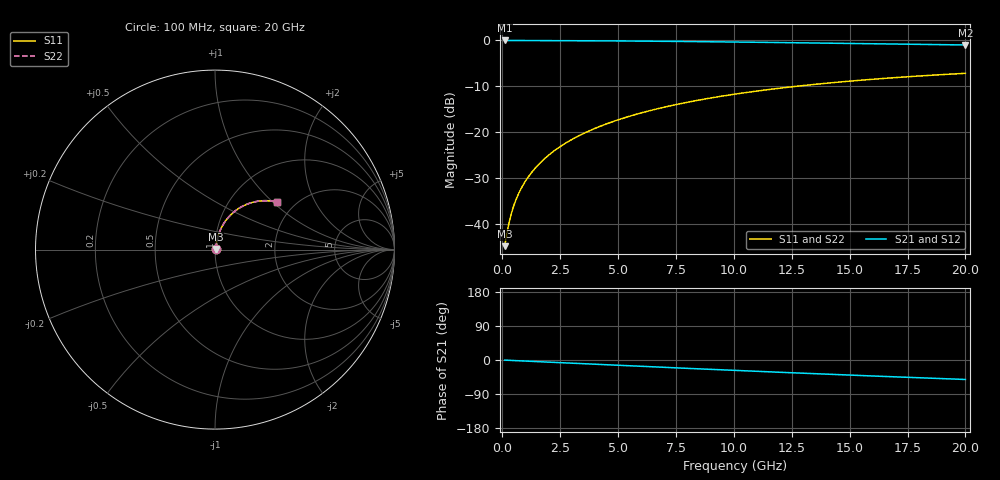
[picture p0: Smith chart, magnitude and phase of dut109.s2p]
! Touchstone file exported from HFSS 2026.1.0
!  File:  C:/ffzhzh/LocalFiles/Ansys_Project_Files/temp_train_BSMRDL_109_1782985843_41620.aedt
!  Generated:  05:52:08 PM Jul  2, 2026
!  Design:  BSMRDL
!  Project:  temp_train_BSMRDL_109_1782985843_41620
! Variables:
!  h_bsmrdl = 2.09um
!  h_ox = 20um
!  h_rdl = 5um
!  h_sub = 80um
!  h_tmrdl = 5um
!  h_tsv = 80um
!  h_via = 3um
!  l_bsmrdl = 767.41um
!  l_sub = 1167.41um
!  l_tmrdl = 200um
!  m_sub = 200um
!  pitch = 58.25um
!  r_tsv = 6um
!  s_tmrdl = 10um
!  w_bsmrdl = 29.23um
!  w_sub = 500um
!  w_tmrdl = 12um
!  x_tsv_center1 = 206um
!  x_tsv_center2 = 1002.64um
!  x_tsv_center3 = 1214.64um
!  x_tsv_center4 = 2011.28um
!  x_tsv_center5 = 2223.28um
!  x_tsv_center6 = 3019.92um
# GHz S MA R 50.000000
! Terminal data exported
! Port[1] = BSM_RDL1_1_T1
! Port[2] = BSM_RDL1_1_T2
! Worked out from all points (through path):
!   200 points, 100 MHz to 20 GHz, reference 50 ohm
!   highest |S21| = -0.04 dB at 100 MHz (marker M1); lowest = -1.0 dB at 20 GHz (marker M2)
!   group delay of S21, straight-line fit = 7.16 ps
!   lowest |S11| = -44.8 dB at 100 MHz (marker M3), VSWR 1.01, Z = 50.5 + j0.313 ohm
!   |S11| at or under -10 dB: start of sweep to 12.74 GHz
!   |S22| runs from -44.8 to -7.2 dB; largest |S21 - S12| = 3.2e-15
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0.1  0.005726 32.8  0.9952 -0.3  0.9952 -0.3  0.005726 32.8
! Gamma 0 0 0 0
! Port Impedance 50 0 50 0
0.2  0.007934 50.7  0.995 -0.6  0.995 -0.6  0.007934 50.7
0.3  0.01053 59.6  0.9948 -0.9  0.9948 -0.9  0.01053 59.6
0.4  0.01322 64.6  0.9945 -1.2  0.9945 -1.2  0.01322 64.6
0.5  0.0159 67.7  0.9942 -1.5  0.9942 -1.5  0.0159 67.7
0.6  0.01858 69.9  0.994 -1.7  0.994 -1.7  0.01858 69.9
0.8  0.0239 72.8  0.9936 -2.3  0.9936 -2.3  0.0239 72.8
1.1  0.03188 75.3  0.9931 -3.1  0.9931 -3.1  0.03188 75.2
1.3  0.03722 76.2  0.9928 -3.7  0.9928 -3.7  0.03722 76.2
1.6  0.04527 77.0  0.9924 -4.5  0.9924 -4.5  0.04526 77.0
2.1  0.05873 77.4  0.9915 -5.9  0.9915 -5.9  0.05873 77.4
2.7  0.07491 77.1  0.9903 -7.6  0.9903 -7.6  0.0749 77.1
3.5  0.09637 76.0  0.9883 -9.8  0.9883 -9.8  0.09636 76.0
4.2  0.115 74.7  0.9862 -11.7  0.9862 -11.7  0.115 74.7
5  0.136 72.9  0.9833 -13.9  0.9833 -13.9  0.136 73.0
5.9  0.1592 70.9  0.9797 -16.4  0.9797 -16.4  0.1592 70.9
6.8  0.182 68.7  0.9755 -18.8  0.9755 -18.8  0.182 68.7
8.3  0.2186 65.0  0.9676 -22.9  0.9676 -22.9  0.2186 65.0
10.1  0.2602 60.5  0.9569 -27.6  0.9569 -27.6  0.2602 60.5
13.4  0.3291 52.4  0.9347 -35.9  0.9347 -35.9  0.3291 52.4
16.7  0.3879 44.6  0.9114 -43.9  0.9114 -43.9  0.3878 44.7
20  0.4365 37.2  0.8889 -51.4  0.8889 -51.4  0.4364 37.3
